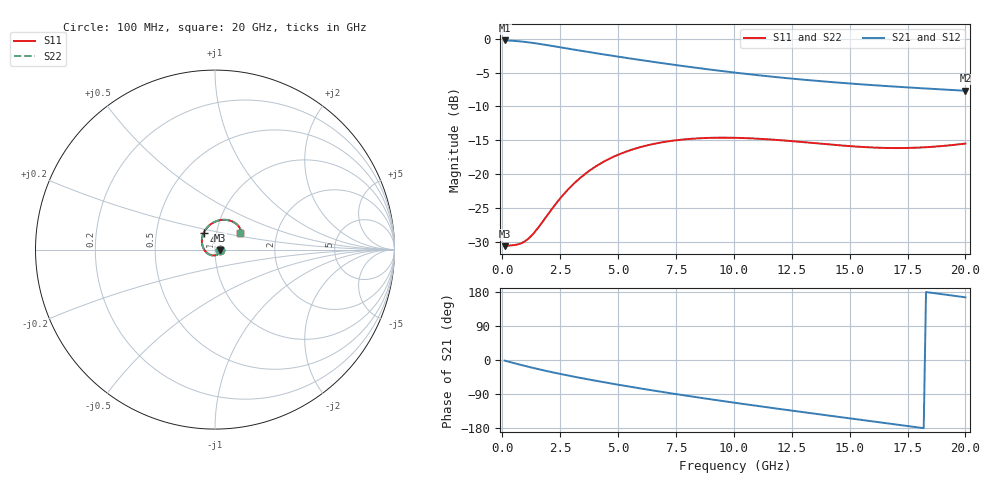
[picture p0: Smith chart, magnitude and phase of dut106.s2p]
! Created with skrf 1.9.0 (http://scikit-rf.org).
# GHz S RI R 50.0
!freq ReS11 ImS11 ReS21 ImS21 ReS12 ImS12 ReS22 ImS22
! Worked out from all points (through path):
!   200 points, 100 MHz to 20 GHz, reference 50 ohm
!   highest |S21| = -0.26 dB at 100 MHz (marker M1); lowest = -7.7 dB at 20 GHz (marker M2)
!   group delay of S21, straight-line fit = 25.6 ps
!   lowest |S11| = -30.6 dB at 100 MHz (marker M3), VSWR 1.06, Z = 53 - j0.529 ohm
!   |S11| at or under -10 dB: start of sweep to end of sweep
!   |S22| runs from -30.6 to -14.6 dB; largest |S21 - S12| = 1.7e-15
!   S11 on the Smith chart (normalised r, x): 100 MHz: 1.06, -0.01; 4 GHz: 0.87, +0.17; 20 GHz: 1.30, +0.25
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0.1  0.029 -0.00499  0.97 -0.0271  0.97 -0.0271  0.029 -0.00499
0.4  0.0246 -0.0169  0.9598 -0.1095  0.9598 -0.1095  0.0246 -0.0169
0.8  0.0104 -0.0291  0.9302 -0.2124  0.9302 -0.2124  0.0104 -0.0291
1.2  -0.00961 -0.033  0.8859 -0.3044  0.8859 -0.3044  -0.00961 -0.033
1.7  -0.0357 -0.025  0.817 -0.4013  0.817 -0.4013  -0.0357 -0.025
2.3  -0.0601 -0.000419  0.7243 -0.492  0.7243 -0.492  -0.0601 -0.000419
2.9  -0.0719 0.0328  0.6286 -0.5594  0.6286 -0.5594  -0.0719 0.0328
3.5  -0.0711 0.0676  0.5337 -0.6081  0.5337 -0.6081  -0.0711 0.0676
4  -0.0625 0.0942  0.4565 -0.637  0.4565 -0.637  -0.0625 0.0942
4.6  -0.0453 0.1212  0.3671 -0.6598  0.3671 -0.6598  -0.0453 0.1212
5.3  -0.0193 0.1445  0.2679 -0.6724  0.2679 -0.6724  -0.0193 0.1445
6  0.00912 0.1588  0.175 -0.6723  0.175 -0.6723  0.00912 0.1588
6.8  0.0412 0.1657  0.0776 -0.6593  0.0776 -0.6593  0.0412 0.1657
8.4  0.0946 0.1574  -0.088 -0.6026  -0.088 -0.6026  0.0946 0.1574
9.2  0.1139 0.1468  -0.1563 -0.5637  -0.1563 -0.5637  0.1139 0.1468
10.1  0.1295 0.1328  -0.2223 -0.5146  -0.2223 -0.5146  0.1295 0.1328
11.7  0.1438 0.108  -0.3145 -0.4183  -0.3145 -0.4183  0.1438 0.108
13.4  0.1455 0.0881  -0.3816 -0.3095  -0.3816 -0.3095  0.1455 0.0881
15  0.1408 0.0784  -0.4196 -0.2051  -0.4196 -0.2051  0.1408 0.0784
16.7  0.1355 0.0774  -0.4356 -0.0948  -0.4356 -0.0948  0.1355 0.0774
18.3  0.1346 0.0831  -0.4288 0.0053  -0.4288 0.0053  0.1346 0.0831
20  0.1408 0.092  -0.3995 0.1039  -0.3995 0.1039  0.1408 0.092
